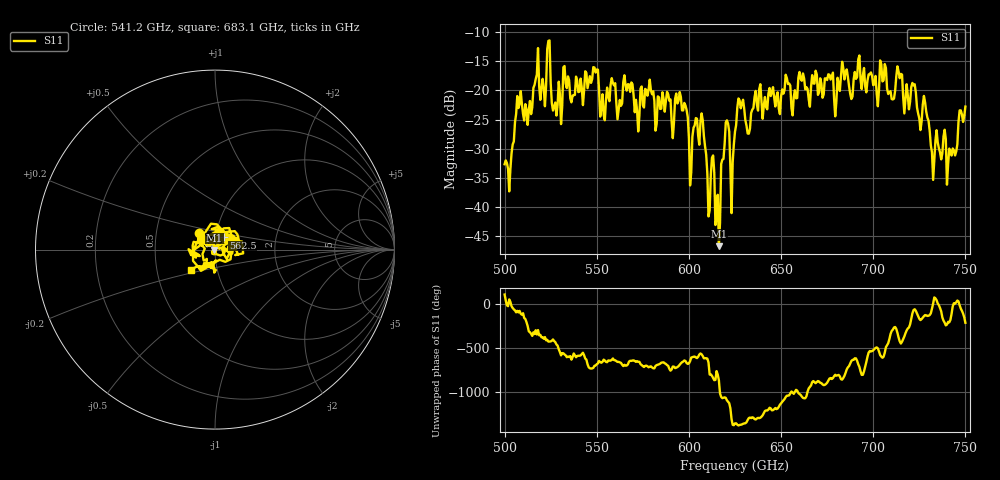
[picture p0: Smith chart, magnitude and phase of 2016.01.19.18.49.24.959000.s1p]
!Created with skrf (http://scikit-rf.org).
# GHz S RI R 50.0
!freq ReS11 ImS11
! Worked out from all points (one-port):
!   401 points, 500 GHz to 750 GHz, reference 50 ohm
!   lowest |S11| = -46.7 dB at 616.2 GHz (marker M1), VSWR 1.01, Z = 49.6 - j0.249 ohm
!   |S11| at or under -10 dB: start of sweep to end of sweep
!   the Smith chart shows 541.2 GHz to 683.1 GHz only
!   S11 on the Smith chart (normalised r, x): 541.2 GHz: 0.83, +0.15; 562.5 GHz: 1.09, +0.15; 683.1 GHz: 0.74, -0.17
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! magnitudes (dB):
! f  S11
! 500 GHz  -32.6
! 516.9 GHz  -18.1
! 531.2 GHz  -22.7
! 541.2 GHz  -18.0
! 549.4 GHz  -16.9
! 553.1 GHz  -20.7
! 558.8 GHz  -18.7
! 562.5 GHz  -21.6
! 565.6 GHz  -19.1
! 571.9 GHz  -23.4
! 593.8 GHz  -22.2
! 601.2 GHz  -34.0
! 607.5 GHz  -25.1
! 610 GHz  -34.3
! 616.2 GHz  -46.7
! 620.6 GHz  -25.1
! 623.1 GHz  -41.0
! 625 GHz  -27.1
! 628.1 GHz  -23.1
! 631.9 GHz  -27.4
! 637.5 GHz  -23.5
! 656.2 GHz  -24.3
! 683.1 GHz  -15.1
! 687.5 GHz  -20.6
! 705 GHz  -18.5
! 718.8 GHz  -20.8
! 741.2 GHz  -30.0
! 750 GHz  -22.8
